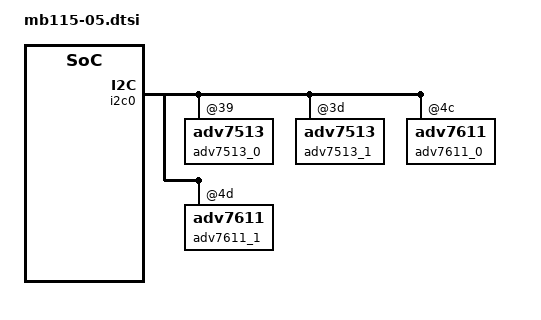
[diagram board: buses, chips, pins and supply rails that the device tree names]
/*
*
* Device Tree Source for RCM MB115.05 extention board ( Video Capture Board )
*
*/
/ {
	plb {
		lsif1 {
			i2c0: i2c@0x3C05A000 {
				status = "ok";

				// HDMI channel 0
				adv7513_0: adv7513@39 {
					//status = "ok";
				};

				// HDMI channel 1
				adv7513_1: adv7513@3d {
					//status = "ok";
				};

				// HDMI graber, channel 0
				adv7611_0: adv7611@4c {
					status = "okay";
				};

				// HDMI graber, channel 1
				adv7611_1: adv7611@4d {
					status = "okay";
				};
			};
		};

		mms {
			vdu_graber_int0: vdu_graber@0x38015000 { // (capture from fb1)
				status = "okay";
			};

			vdu_graber_ext0: vdu_graber@0x38016000 { // EXT0
				status = "okay";
			};

			vdu_graber_int1: vdu_graber@0x3801b000 { // (capture from fb0)
				status = "okay";
			};

			vdu_graber_ext1: vdu_graber@0x3801c000 { // EXT1
				status = "okay";
			};
		};
	};
};
